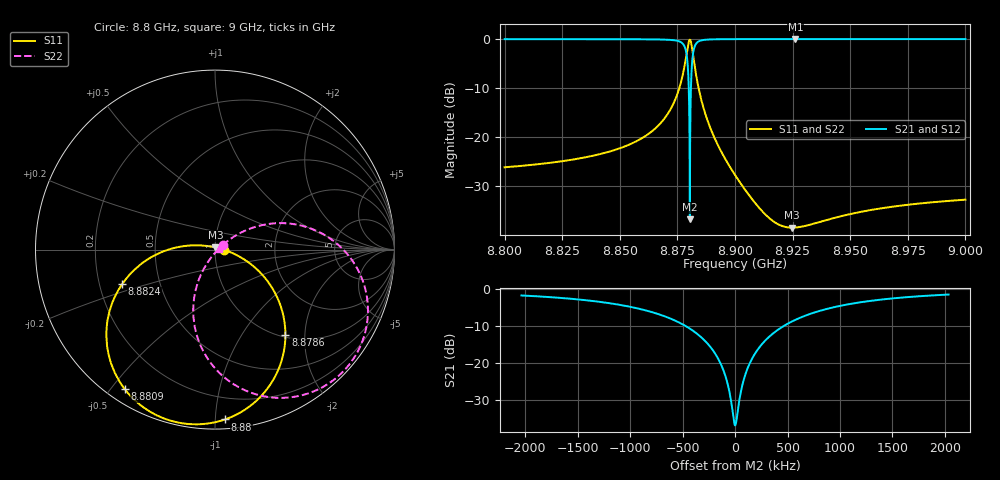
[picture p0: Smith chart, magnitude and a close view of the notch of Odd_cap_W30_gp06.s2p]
! Sonnet Data File
! From: emgraph Version : 16.52
! From Project: Resonator2_cp
! Data is De-embedded
! Data File Written: 10/07/2017 13:01:14
!< HDATE 10/07/2017 09:22:27
!< MDATE 10/07/2017 09:22:27
!< PARAMS
!< gap = 6.0
!< Length = 400.0
!< Pwid1 = 2000.0
!< Pwid2 = 2000.0
!< Air_gap = 18.0
!< Width = 30.0
!< END PARAMS
# GHZ S MA R 43.07000
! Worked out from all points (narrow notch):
!   1595 points, 8.8 GHz to 9 GHz, reference 43.07 ohm
!   highest |S21| = 0.00 dB at 8.9262 GHz (marker M1); lowest = -36.7 dB at 8.8804 GHz (marker M2)
!   notch at M2: 36.7 dB deep, 340 kHz wide at half that depth
!   lowest |S11| = -38.4 dB at 8.9248 GHz (marker M3), VSWR 1.02, Z = 43.3 + j1.02 ohm
!   |S11| at or under -10 dB: start of sweep to 8.8758 GHz; 8.8842 GHz to end of sweep
!   |S22| runs from -38.4 to -0.1 dB; largest |S21 - S12| = 0
!   S11 on the Smith chart (normalised r, x): 8.8 GHz: 1.10, -0.00; 8.8786 GHz: 1.04, -1.60; 8.88 GHz: 0.06, -1.06; 8.8809 GHz: 0.05, -0.54; 8.8824 GHz: 0.30, -0.16; 9 GHz: 1.05, +0.01
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8.8  0.04957 -0.7  0.9988 -74.9  0.9988 -74.9  0.04957 30.9
!< P1 F=8.8 Eeff=(5.15948137 -2.2525e-5) Z0=(43.0696006 9.54461e-5) R=0.0 C=0.0
!< P2 F=8.8 Eeff=(5.15948137 -2.2525e-5) Z0=(43.0696006 9.54461e-5) R=0.0 C=0.0
8.8334  0.06157 -4.5  0.9981 -75.9  0.9981 -75.9  0.06158 32.7
8.866667  0.1315 -14.9  0.9912 -80.2  0.9912 -80.2  0.1315 34.4
8.875391  0.2942 -27.7  0.9546 -89.9  0.9546 -89.9  0.2943 27.6
8.878578  0.6171 -50.5  0.7801 -110.9  0.7801 -110.9  0.6173 7.5
8.879384  0.8046 -66.9  0.578 -126.4  0.578 -126.4  0.8048 -8.1
8.88  0.9478 -86.6  0.274 -144.0  0.274 -144.0  0.9482 -27.2
8.880263  0.9804 -96.9  0.1005 -148.8  0.1005 -148.8  0.9808 -37.3
8.880404  0.9852 -102.7  0.01462 -73.3  0.01462 -73.3  0.9856 -42.9
8.880493  0.9831 -106.4  0.06527 0.6  0.06527 0.6  0.9835 -46.5
8.880602  0.9754 -110.8  0.1407 3.2  0.1407 3.2  0.9757 -50.9
8.880907  0.9263 -122.8  0.3401 -5.0  0.3401 -5.0  0.9266 -62.5
8.8816  0.742 -144.4  0.6573 -24.9  0.6573 -24.9  0.7423 -83.4
8.88239  0.5525 -159.6  0.8275 -39.3  0.8275 -39.3  0.5527 -97.8
8.886609  0.1893 174.8  0.9812 -62.0  0.9812 -62.0  0.1894 -118.3
8.9  0.0414 152.6  0.9991 -70.7  0.9991 -70.7  0.04144 -113.8
8.914  0.01572 117.6  0.9998 -72.5  0.9998 -72.5  0.01575 -82.5
8.9248  0.01205 77.1  0.9999 -73.2  0.9999 -73.2  0.01207 -43.4
8.9262  0.01208 72.5  0.9999 -73.2  0.9999 -73.2  0.01211 -39.0
8.9334  0.01307 53.8  0.9999 -73.5  0.9999 -73.5  0.01309 -20.9
8.9668  0.01947 24.0  0.9998 -74.4  0.9998 -74.4  0.01947 7.2
9  0.02321 16.5  0.9997 -75.0  0.9997 -75.0  0.02321 13.6
